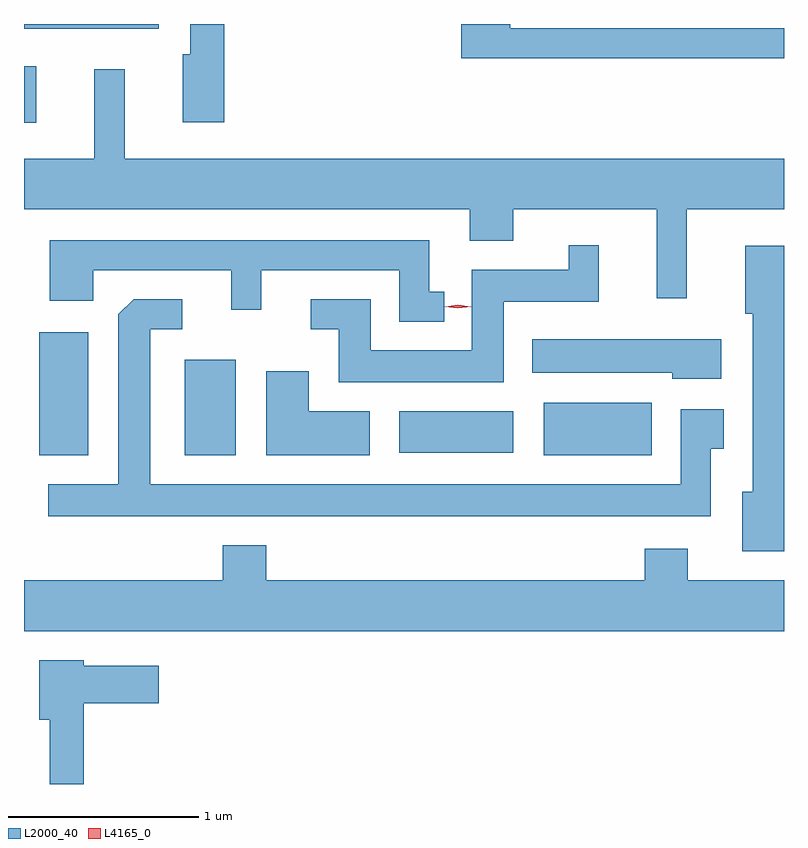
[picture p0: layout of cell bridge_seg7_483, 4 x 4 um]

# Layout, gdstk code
import gdstk
lib = gdstk.Library(unit=1e-6, precision=1e-09)
def R(c, l, rs):  # rectangles x0, y0, x1, y1
    for r in rs: c.add(gdstk.rectangle(r[:2], r[2:], *l))
def P(c, l, *ps):  # polygons
    for p in ps: c.add(gdstk.Polygon(p, *l))
L2000_40 = (2000, 40)
L4165_0 = (4165, 0)

bridge_seg7_483 = lib.new_cell('bridge_seg7_483')
R(bridge_seg7_483, L2000_40, [(1343.396,1730.781,1343.654,1731.429), (1344.161,1730.781,1344.429,1731.284), (1346.051,1730.781,1346.619,1731.059), (1345.291,1730.796,1345.889,1731.014), (1343.315,1732.533,1343.379,1732.829), (1343.315,1733.026,1344.024,1733.052)])
P(bridge_seg7_483, L2000_40, [(1347.315,1733.029),(1345.874,1733.029),(1345.874,1733.052),(1345.616,1733.052),(1345.616,1732.871),(1347.315,1732.871)],
  [(1344.369,1733.052),(1344.191,1733.052),(1344.191,1732.894),(1344.151,1732.894),(1344.151,1732.536),(1344.369,1732.536)],
  [(1346.804,1732.076),(1347.315,1732.076),(1347.315,1732.344),(1343.844,1732.344),(1343.844,1732.813),(1343.686,1732.813),(1343.686,1732.344),(1343.315,1732.344),(1343.315,1732.076),(1345.661,1732.076),(1345.661,1731.911),(1345.889,1731.911),(1345.889,1732.076),(1346.646,1732.076),(1346.646,1731.608),(1346.804,1731.608)],
  [(1345.528,1731.644),(1345.449,1731.644),(1345.449,1731.914),(1343.451,1731.914),(1343.451,1731.596),(1343.679,1731.596),(1343.679,1731.756),(1344.406,1731.756),(1344.406,1731.548),(1344.564,1731.548),(1344.564,1731.756),(1345.291,1731.756),(1345.291,1731.486),(1345.528,1731.486)],
  [(1345.839,1731.591),(1346.339,1731.591),(1346.339,1731.888),(1346.181,1731.888),(1346.181,1731.759),(1345.671,1731.759),(1345.671,1731.334),(1345.139,1731.334),(1345.139,1731.604),(1344.823,1731.604),(1344.823,1731.446),(1344.971,1731.446),(1344.971,1731.166),(1345.839,1731.166)],
  [(1347.315,1731.884),(1347.111,1731.884),(1347.111,1731.526),(1347.151,1731.526),(1347.151,1730.589),(1347.096,1730.589),(1347.096,1730.276),(1347.315,1730.276)],
  [(1346.929,1730.816),(1346.999,1730.816),(1346.999,1731.024),(1346.771,1731.024),(1346.771,1730.629),(1343.979,1730.629),(1343.979,1731.446),(1344.148,1731.446),(1344.148,1731.604),(1343.892,1731.604),(1343.811,1731.524),(1343.811,1730.629),(1343.443,1730.629),(1343.443,1730.461),(1346.929,1730.461)],
  [(1346.984,1731.394),(1345.991,1731.394),(1345.991,1731.216),(1346.726,1731.216),(1346.726,1731.186),(1346.984,1731.186)],
  [(1345.134,1731.014),(1344.814,1731.014),(1344.814,1731.224),(1344.591,1731.224),(1344.591,1730.781),(1345.134,1730.781)],
  [(1347.315,1730.124),(1346.809,1730.124),(1346.809,1730.289),(1346.581,1730.289),(1346.581,1730.124),(1344.589,1730.124),(1344.589,1730.309),(1344.361,1730.309),(1344.361,1730.124),(1343.315,1730.124),(1343.315,1729.856),(1347.315,1729.856)],
  [(1343.629,1729.476),(1344.024,1729.476),(1344.024,1729.674),(1343.629,1729.674),(1343.629,1729.704),(1343.396,1729.704),(1343.396,1729.391),(1343.451,1729.391),(1343.451,1729.052),(1343.629,1729.052)])
P(bridge_seg7_483, L4165_0, [(1345.598,1731.555),(1345.529,1731.564),(1345.529,1731.565),(1345.529,1731.565),(1345.598,1731.575),(1345.668,1731.565),(1345.668,1731.564),(1345.668,1731.564)])

lib.write_gds('bridge_seg7_483.gds')
